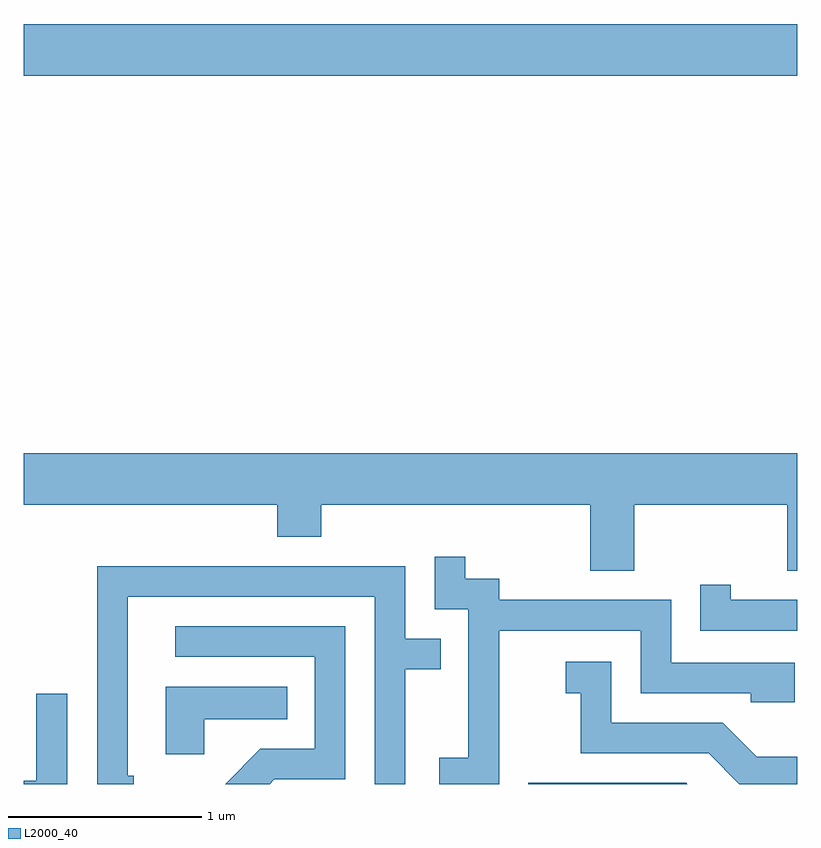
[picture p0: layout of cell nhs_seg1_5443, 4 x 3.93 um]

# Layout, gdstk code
import gdstk
lib = gdstk.Library(unit=1e-6, precision=1e-09)
def R(c, l, rs):  # rectangles x0, y0, x1, y1
    for r in rs: c.add(gdstk.rectangle(r[:2], r[2:], *l))
def P(c, l, *ps):  # polygons
    for p in ps: c.add(gdstk.Polygon(p, *l))
L2000_40 = (2000, 40)

nhs_seg1_5443 = lib.new_cell('nhs_seg1_5443')
R(nhs_seg1_5443, L2000_40, [(349.611,877.376,353.611,877.644)])
P(nhs_seg1_5443, L2000_40, [(352.769,875.156),(353.561,875.156),(353.561,874.816),(353.611,874.816),(353.611,875.424),(349.611,875.424),(349.611,875.156),(350.921,875.156),(350.921,874.991),(351.149,874.991),(351.149,875.156),(352.541,875.156),(352.541,874.816),(352.769,874.816)],
  [(352.069,874.506),(352.801,874.506),(352.801,874.181),(353.371,874.181),(353.371,874.136),(353.599,874.136),(353.599,874.339),(352.959,874.339),(352.959,874.664),(352.069,874.664),(352.069,874.774),(351.894,874.774),(351.894,874.888),(351.736,874.888),(351.736,874.616),(351.911,874.616),(351.911,873.849),(351.761,873.849),(351.761,873.712),(352.069,873.712)],
  [(350.179,873.754),(350.149,873.754),(350.149,874.681),(351.426,874.681),(351.426,873.712),(351.584,873.712),(351.584,874.306),(351.768,874.306),(351.768,874.464),(351.584,874.464),(351.584,874.839),(349.991,874.839),(349.991,873.712),(350.179,873.712)],
  [(353.611,874.664),(353.269,874.664),(353.269,874.743),(353.111,874.743),(353.111,874.506),(353.611,874.506)],
  [(350.907,873.736),(351.274,873.736),(351.274,874.529),(350.393,874.529),(350.393,874.371),(351.116,874.371),(351.116,873.894),(350.834,873.894),(350.652,873.712),(350.883,873.712)],
  [(353.611,873.854),(353.402,873.854),(353.227,874.029),(352.649,874.029),(352.649,874.344),(352.413,874.344),(352.413,874.181),(352.491,874.181),(352.491,873.871),(353.154,873.871),(353.313,873.712),(353.611,873.712)],
  [(350.544,874.046),(350.973,874.046),(350.973,874.214),(350.346,874.214),(350.346,873.866),(350.544,873.866)],
  [(349.834,874.178),(349.676,874.178),(349.676,873.729),(349.611,873.729),(349.611,873.712),(349.834,873.712)],
  [(353.037,873.719),(352.221,873.719),(352.221,873.712),(353.044,873.712)])

lib.write_gds('nhs_seg1_5443.gds')
